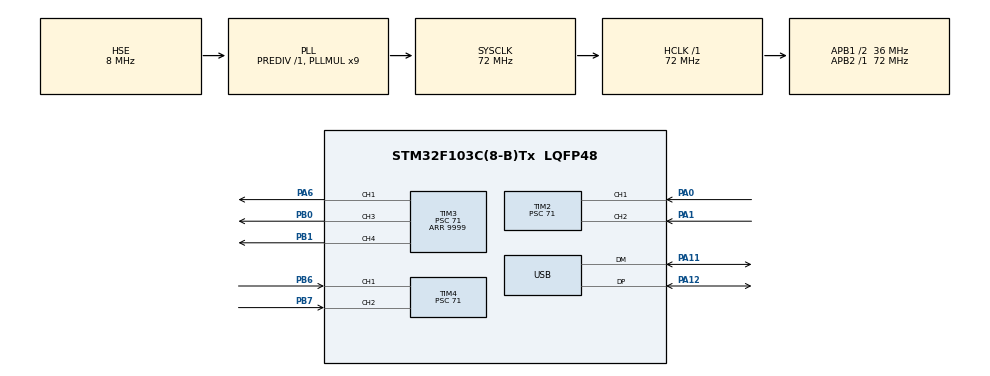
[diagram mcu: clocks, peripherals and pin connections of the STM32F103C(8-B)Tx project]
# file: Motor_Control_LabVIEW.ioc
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Mcu.Family=STM32F1
Mcu.Name=STM32F103C(8-B)Tx
Mcu.Package=LQFP48
NVIC.PriorityGroup=NVIC_PRIORITYGROUP_4
NVIC.USB_LP_CAN1_RX0_IRQn=true\:0\:0\:false\:false\:true\:false\:true\:true
PA0-WKUP.Signal=S_TIM2_CH1_ETR
PA1.Signal=S_TIM2_CH2
PA11.Mode=Device
PA11.Signal=USB_DM
PA12.Mode=Device
PA12.Signal=USB_DP
PA13.Mode=Serial_Wire
PA13.Signal=SYS_JTMS-SWDIO
PA14.Mode=Serial_Wire
PA14.Signal=SYS_JTCK-SWCLK
PA6.Signal=S_TIM3_CH1
PB0.Signal=S_TIM3_CH3
PB1.Signal=S_TIM3_CH4
PB6.Signal=S_TIM4_CH1
PB7.Signal=S_TIM4_CH2
PD0-OSC_IN.Mode=HSE-External-Oscillator
PD0-OSC_IN.Signal=RCC_OSC_IN
PD1-OSC_OUT.Mode=HSE-External-Oscillator
PD1-OSC_OUT.Signal=RCC_OSC_OUT
ProjectManager.HeapSize=0x200
ProjectManager.StackSize=0x400
ProjectManager.TargetToolchain=MDK-ARM V5.32
RCC.AHBFreq_Value=72000000
RCC.APB1CLKDivider=RCC_HCLK_DIV2
RCC.APB1Freq_Value=36000000
RCC.APB1TimFreq_Value=72000000
RCC.APB2Freq_Value=72000000
RCC.APB2TimFreq_Value=72000000
RCC.HCLKFreq_Value=72000000
RCC.PLLMUL=RCC_PLL_MUL9
RCC.PLLSourceVirtual=RCC_PLLSOURCE_HSE
RCC.SYSCLKFreq_VALUE=72000000
RCC.SYSCLKSource=RCC_SYSCLKSOURCE_PLLCLK
RCC.USBFreq_Value=48000000
RCC.USBPrescaler=RCC_USBCLKSOURCE_PLL_DIV1_5
SH.S_TIM2_CH1_ETR.0=TIM2_CH1,Encoder_Interface
SH.S_TIM2_CH2.0=TIM2_CH2,Encoder_Interface
SH.S_TIM3_CH1.0=TIM3_CH1,PWM Generation1 CH1
SH.S_TIM3_CH3.0=TIM3_CH3,PWM Generation3 CH3
SH.S_TIM3_CH4.0=TIM3_CH4,PWM Generation4 CH4
SH.S_TIM4_CH1.0=TIM4_CH1,Encoder_Interface
SH.S_TIM4_CH2.0=TIM4_CH2,Encoder_Interface
TIM2.Prescaler=71
TIM3.AutoReloadPreload=TIM_AUTORELOAD_PRELOAD_ENABLE
TIM3.Channel-PWM\ Generation1\ CH1=TIM_CHANNEL_1
TIM3.Channel-PWM\ Generation3\ CH3=TIM_CHANNEL_3
TIM3.Channel-PWM\ Generation4\ CH4=TIM_CHANNEL_4
TIM3.Period=9999
TIM3.Prescaler=71
TIM4.Prescaler=71
USB_DEVICE.CLASS_NAME_FS=CDC
USB_DEVICE.VirtualMode=Cdc
USB_DEVICE.VirtualModeFS=Cdc_FS
VP_TIM3_VS_ClockSourceINT.Mode=Internal
VP_USB_DEVICE_VS_USB_DEVICE_CDC_FS.Mode=CDC_FS
board=custom

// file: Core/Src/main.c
/* USER CODE BEGIN Header */
/**
  ******************************************************************************
  * @file           : main.c
  * @brief          : Main program body
  ******************************************************************************
  * @attention
  *
  * Copyright (c) 2026 STMicroelectronics.
  * All rights reserved.
  *
  * This software is licensed under terms that can be found in the LICENSE file
  * in the root directory of this software component.
  * If no LICENSE file comes with this software, it is provided AS-IS.
  *
  ******************************************************************************
  */
/* USER CODE END Header */
#include "main.h"
#include "tim.h"
#include "usb_device.h"
#include "gpio.h"

/* USER CODE BEGIN PV */
int TargetPosition = 0;
int TargetVelocity = 0;

int PosA = 0;
int PosB = 0;
/* USER CODE END PV */

void SystemClock_Config(void);

int main(void)
{

  /* MCU Configuration--------------------------------------------------------*/

  /* Reset of all peripherals, Initializes the Flash interface and the Systick. */
  HAL_Init();

  /* Configure the system clock */
  SystemClock_Config();

  /* Initialize all configured peripherals */
  MX_GPIO_Init();
  MX_USB_DEVICE_Init();
  MX_TIM3_Init();
  MX_TIM2_Init();
  MX_TIM4_Init();
  /* USER CODE BEGIN 2 */
HAL_TIM_Encoder_Start(&htim2, TIM_CHANNEL_ALL);
HAL_TIM_Encoder_Start(&htim4, TIM_CHANNEL_ALL);

HAL_TIM_PWM_Start(&htim3, TIM_CHANNEL_1);
HAL_TIM_PWM_Start(&htim3, TIM_CHANNEL_3);
HAL_TIM_PWM_Start(&htim3, TIM_CHANNEL_4);

HAL_TIM_PWM_Start(&htim3, TIM_CHANNEL_1);
__HAL_TIM_SET_COMPARE(&htim3, TIM_CHANNEL_1, 500);

  /* USER CODE END 2 */

  /* Infinite loop */
while (1)
{

    /* USER CODE BEGIN 3 */
// ===== 1. LED=====
    HAL_GPIO_TogglePin(GPIOA, GPIO_PIN_5);

    // ===== 2.=====
    PosA = (int16_t)__HAL_TIM_GET_COUNTER(&htim2);

    // ===== 3.=====
    int error = TargetPosition - PosA;

    // ===== 4.  =====
    int speed = (int)(error * 0.5f);

    //
    if(speed > TargetVelocity) speed = TargetVelocity;
    if(speed < -TargetVelocity) speed = -TargetVelocity;

    // ===== 5. PWM
    uint16_t pwm = 500 + speed;

    if(pwm > 999) pwm = 999;
    if(pwm < 0) pwm = 0;

    __HAL_TIM_SET_COMPARE(&htim3, TIM_CHANNEL_1, pwm);

    HAL_Delay(10);

/* USER CODE BEGIN 3 */
}
  /* USER CODE END 3 */
}

void SystemClock_Config(void)
{
  RCC_OscInitTypeDef RCC_OscInitStruct = {0};
  RCC_ClkInitTypeDef RCC_ClkInitStruct = {0};
  RCC_PeriphCLKInitTypeDef PeriphClkInit = {0};

  /** Initializes the RCC Oscillators according to the specified parameters
  * in the RCC_OscInitTypeDef structure.
  */
  RCC_OscInitStruct.OscillatorType = RCC_OSCILLATORTYPE_HSE;
  RCC_OscInitStruct.HSEState = RCC_HSE_ON;
  RCC_OscInitStruct.HSEPredivValue = RCC_HSE_PREDIV_DIV1;
  RCC_OscInitStruct.HSIState = RCC_HSI_ON;
  RCC_OscInitStruct.PLL.PLLState = RCC_PLL_ON;
  RCC_OscInitStruct.PLL.PLLSource = RCC_PLLSOURCE_HSE;
  RCC_OscInitStruct.PLL.PLLMUL = RCC_PLL_MUL9;
  if (HAL_RCC_OscConfig(&RCC_OscInitStruct) != HAL_OK)
  {
    Error_Handler();
  }

  /** Initializes the CPU, AHB and APB buses clocks
  */
  RCC_ClkInitStruct.ClockType = RCC_CLOCKTYPE_HCLK|RCC_CLOCKTYPE_SYSCLK
                              |RCC_CLOCKTYPE_PCLK1|RCC_CLOCKTYPE_PCLK2;
  RCC_ClkInitStruct.SYSCLKSource = RCC_SYSCLKSOURCE_PLLCLK;
  RCC_ClkInitStruct.AHBCLKDivider = RCC_SYSCLK_DIV1;
  RCC_ClkInitStruct.APB1CLKDivider = RCC_HCLK_DIV2;
  RCC_ClkInitStruct.APB2CLKDivider = RCC_HCLK_DIV1;

  if (HAL_RCC_ClockConfig(&RCC_ClkInitStruct, FLASH_LATENCY_2) != HAL_OK)
  {
    Error_Handler();
  }
  PeriphClkInit.PeriphClockSelection = RCC_PERIPHCLK_USB;
  PeriphClkInit.UsbClockSelection = RCC_USBCLKSOURCE_PLL_DIV1_5;
  if (HAL_RCCEx_PeriphCLKConfig(&PeriphClkInit) != HAL_OK)
  {
    Error_Handler();
  }
}

void Error_Handler(void)
{
  __disable_irq();
  while (1)
  {
  }
}
